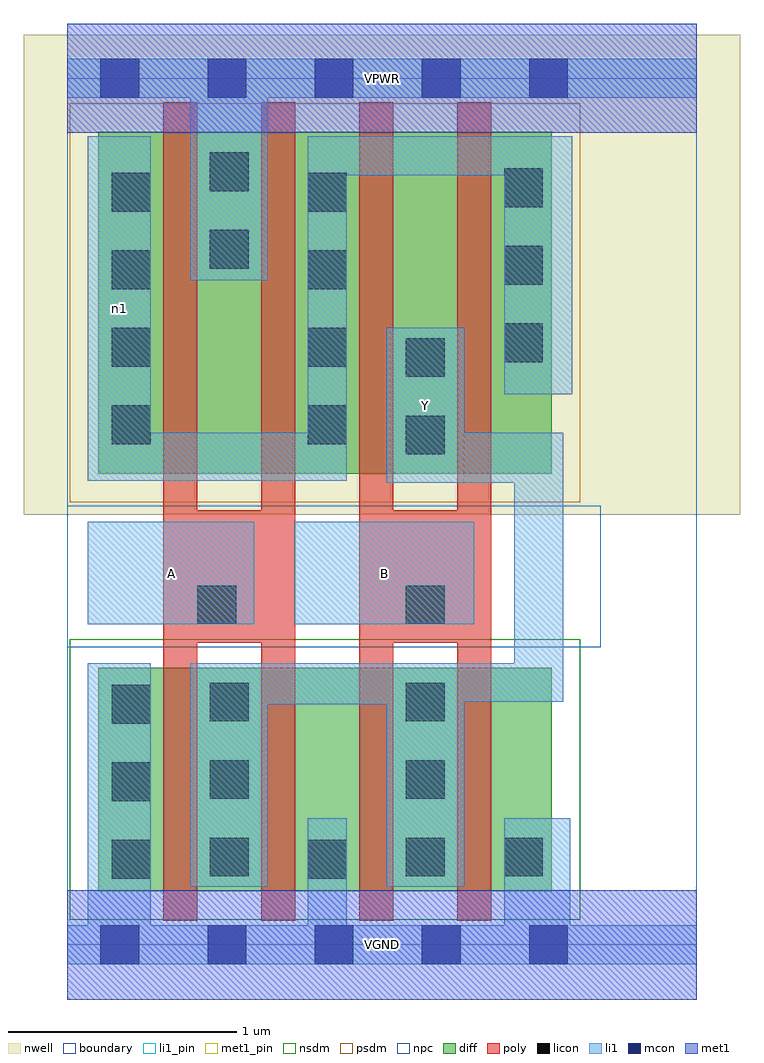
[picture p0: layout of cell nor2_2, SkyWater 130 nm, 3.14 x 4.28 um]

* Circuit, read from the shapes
.subckt nor2_2 A B VGND VPWR Y n1
XM1 Y A VGND VSUBS sky130_fd_pr__nfet_01v8 w=0.98 l=0.15 m=2
XM2 Y B VGND VSUBS sky130_fd_pr__nfet_01v8 w=0.98 l=0.15 m=2
XM3 VPWR A n1 n2 sky130_fd_pr__pfet_01v8 w=1.5 l=0.15 m=2
XM4 Y B n1 n2 sky130_fd_pr__pfet_01v8 w=1.5 l=0.15 m=2
.ends

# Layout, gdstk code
import gdstk
lib = gdstk.Library(unit=1e-6, precision=1e-09)
def R(c, l, rs):  # rectangles x0, y0, x1, y1
    for r in rs: c.add(gdstk.rectangle(r[:2], r[2:], *l))
def A(c, l, x, y, w, h, nx, ny, dx, dy):  # array of equal rectangles
    R(c, l, [(x+i*dx, y+j*dy, x+i*dx+w, y+j*dy+h) for i in range(nx) for j in range(ny)])
nwell = (64, 20)
diff = (65, 20)
poly = (66, 20)
licon = (66, 44)
li1_pin = (67, 16)
li1 = (67, 20)
mcon = (67, 44)
met1_pin = (68, 16)
met1 = (68, 20)
nsdm = (93, 44)
psdm = (94, 20)
npc = (95, 20)
boundary = (235, 4)

nor2_2 = lib.new_cell('nor2_2')
R(nor2_2, nwell, [(-0.19,1.885,2.95,3.99), (0,1.885,2.76,3.99)])
R(nor2_2, diff, [(0.135,0.235,2.125,1.215), (0.135,2.065,2.125,3.565)])
A(nor2_2, poly, 0.42, 0.105, 0.15, 3.59, 4, 1, 0.43, 0)
R(nor2_2, poly, [(0.42,1.325,1,1.905), (1.28,1.325,1.86,1.905)])
A(nor2_2, licon, 0.195, 0.29, 0.17, 0.17, 1, 3, 0, 0.34)
A(nor2_2, licon, 0.625, 0.3, 0.17, 0.17, 1, 3, 0, 0.34)
A(nor2_2, licon, 1.485, 0.3, 0.17, 0.17, 1, 3, 0, 0.34)
A(nor2_2, licon, 0.195, 2.195, 0.17, 0.17, 1, 4, 0, 0.34)
A(nor2_2, licon, 1.055, 2.195, 0.17, 0.17, 1, 4, 0, 0.34)
A(nor2_2, licon, 1.915, 2.555, 0.17, 0.17, 1, 3, 0, 0.34)
R(nor2_2, licon, [(1.055,0.29,1.225,0.46), (1.915,0.3,2.085,0.47), (0.57,1.405,0.74,1.575), (1.485,1.405,1.655,1.575), (1.485,2.15,1.655,2.32), (1.485,2.49,1.655,2.66), (0.625,2.965,0.795,3.135), (0.625,3.305,0.795,3.475)])
R(nor2_2, li1_pin, [(0.09,1.405,0.82,1.855), (0.995,1.405,1.785,1.855), (1.4,2.025,1.74,2.705)])
R(nor2_2, li1, [(0,-0.085,2.76,0.085), (0.09,-0.085,0.365,1.235), (1.055,-0.085,1.225,0.555), (1.915,-0.085,2.205,0.555), (0.54,0.255,0.88,1.235), (1.4,0.255,1.74,1.235), (0.54,1.055,1.74,1.235), (0.54,1.065,2.175,1.235), (1.96,1.065,2.175,2.245), (0.09,1.405,0.82,1.855), (0.995,1.405,1.785,1.855), (1.4,2.025,1.74,2.705), (1.4,2.025,2.175,2.245), (0.09,2.035,0.365,3.545), (0.09,2.035,1.225,2.245), (1.055,2.035,1.225,3.545), (1.915,2.415,2.215,3.545), (0.54,2.915,0.88,3.885), (1.055,3.375,2.215,3.545), (0,3.715,2.76,3.885)])
A(nor2_2, mcon, 0.145, -0.085, 0.17, 0.17, 5, 2, 0.47, 3.8)
R(nor2_2, met1_pin, [(0,-0.24,2.76,0.24), (0,3.56,2.76,4.04)])
R(nor2_2, met1, [(0,-0.24,2.76,0.24), (0,3.56,2.76,4.04)])
R(nor2_2, nsdm, [(0.01,0.11,2.25,1.34)])
R(nor2_2, psdm, [(0.01,1.94,2.25,3.69)])
R(nor2_2, npc, [(0,1.305,2.34,1.925)])
R(nor2_2, boundary, [(0,0,2.76,3.8)])
nor2_2.add(gdstk.Label('A', (0.455,1.63), layer=67, texttype=5))
nor2_2.add(gdstk.Label('B', (1.39,1.63), layer=67, texttype=5))
nor2_2.add(gdstk.Label('Y', (1.57,2.365), layer=67, texttype=5))
nor2_2.add(gdstk.Label('n1', (0.227,2.79), layer=67, texttype=5))
nor2_2.add(gdstk.Label('VPWR', (1.38,3.8), layer=68, texttype=5))
nor2_2.add(gdstk.Label('VGND', (1.38,0), layer=68, texttype=5))
nor2_2.add(gdstk.Label('A', (0.455,1.63), layer=67, texttype=16))
nor2_2.add(gdstk.Label('B', (1.39,1.63), layer=67, texttype=16))
nor2_2.add(gdstk.Label('Y', (1.57,2.365), layer=67, texttype=16))
nor2_2.add(gdstk.Label('VPWR', (1.38,3.8), layer=68, texttype=16))
nor2_2.add(gdstk.Label('VGND', (1.38,0), layer=68, texttype=16))

lib.write_gds('nor2_2.gds')
